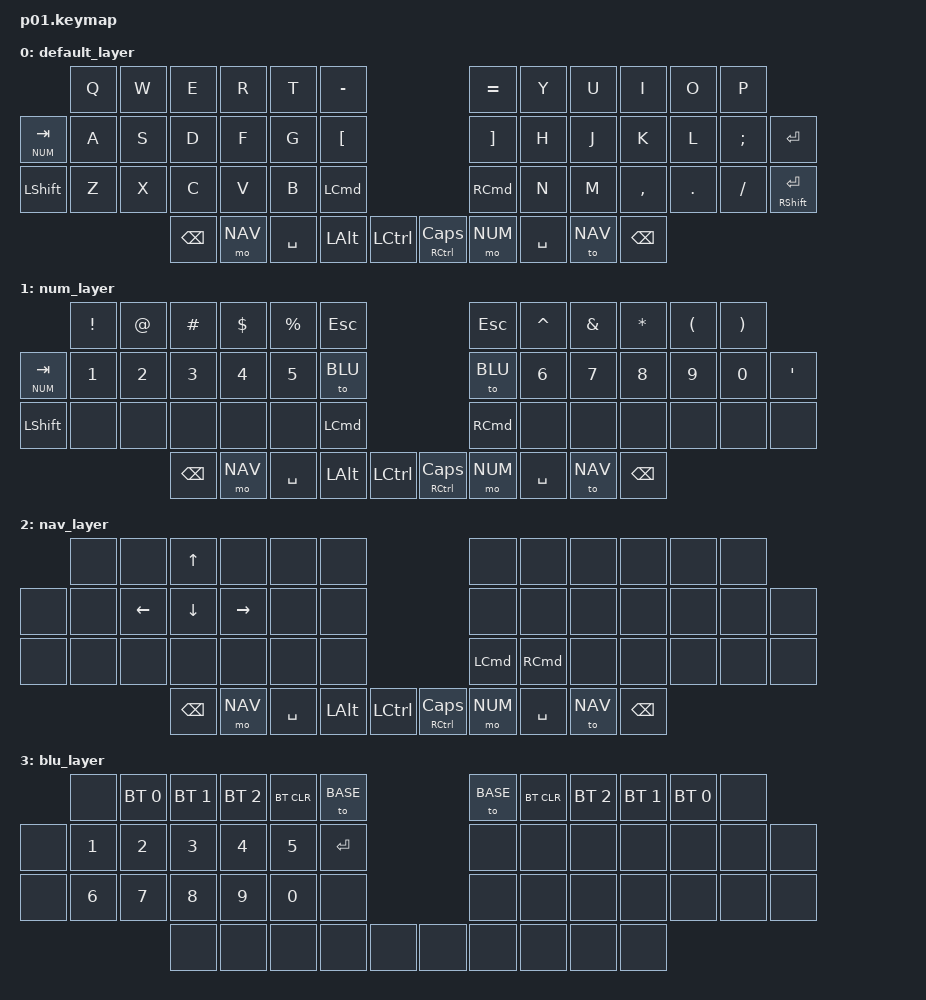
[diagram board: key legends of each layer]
#include <behaviors.dtsi>
#include <dt-bindings/zmk/keys.h>
#include <dt-bindings/zmk/bt.h>

#define BASE 0
#define NUM 1 // Number layer
#define NAV 2 // Navigation layer
#define BLU 3 // Bluetooth config layer

/ {
    keymap {
        compatible = "zmk,keymap";
        default_layer { // Layer 0
            bindings = <
                &kp Q   &kp W   &kp E    &kp R   &kp T     &kp MINUS                                   &kp EQUAL         &kp Y     &kp U   &kp I     &kp O    &kp P    
&lt NUM TAB &kp A   &kp S   &kp D    &kp F   &kp G        &kp LBKT                                   &kp RBKT                        &kp H     &kp J   &kp K     &kp L    &kp SEMI &kp ENTER
&kp LSHFT       &kp Z   &kp X   &kp C    &kp V   &kp B       &kp LCMD                               &kp RCMD            &kp N     &kp M   &kp COMMA &kp DOT  &kp FSLH &mt RSHFT ENTER
                                &kp BSPC &mo NAV &kp SPACE  &kp LALT &kp LCTRL &mt RCTRL CAPS &mo NUM   &kp SPACE &to NAV &kp BSPC
            >;
        };
        num_layer { // Layer 1
            bindings = <
            &kp EXCL &kp AT  &kp HASH &kp DLLR &kp PRCNT  &kp ESC                           &kp ESC   &kp CARET &kp AMPS &kp STAR &kp LPAR &kp RPAR   
&lt NUM TAB &kp N1   &kp N2  &kp N3   &kp N4   &kp N5     &to BLU                           &to BLU   &kp N6    &kp N7   &kp N8   &kp N9   &kp N0 &kp SQT
&kp LSHFT   &none    &none   &none    &none    &none      &kp LCMD                          &kp RCMD  &none    &none    &none    &none    &none &none
                             &kp BSPC &mo NAV  &kp SPACE  &kp LALT &kp LCTRL &mt RCTRL CAPS &mo NUM   &kp SPACE &to NAV &kp BSPC
            >;
        };
        nav_layer { // Layer 2
            bindings = <
      &none &none &kp UP      &none   &none     &none    &none    &none &none &none &none &none    
&none &none &kp LEFT &kp DOWN    &kp RIGHT  &none   &none &none  &none    &none    &none     &none &none &none
&none &none &none &none    &none   &none     &none   &kp LCMD &kp RCMD  &none    &none     &none &none &none                  
                                &kp BSPC &mo NAV &kp SPACE &kp LALT &kp LCTRL &mt RCTRL CAPS &mo NUM &kp SPACE &to NAV &kp BSPC
            >;
        };
        blu_layer { // Layer 3
            bindings = <
      &none  &bt BT_SEL 0 &bt BT_SEL 1 &bt BT_SEL 2 &bt BT_CLR &to BASE                           &to BASE &bt BT_CLR &bt BT_SEL 2 &bt BT_SEL 1 &bt BT_SEL 0 &none
&none &kp N1 &kp N2       &kp N3       &kp N4       &kp N5     &kp ENTER                          &none &none &none &none &none &none &none
&none &kp N6 &kp N7       &kp N8       &kp N9       &kp N0     &none                              &none &none &none &none &none &none &none 
                                       &none        &none      &none      &none &none &none &none &none &none &none 
            >;
        };
    };
 };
